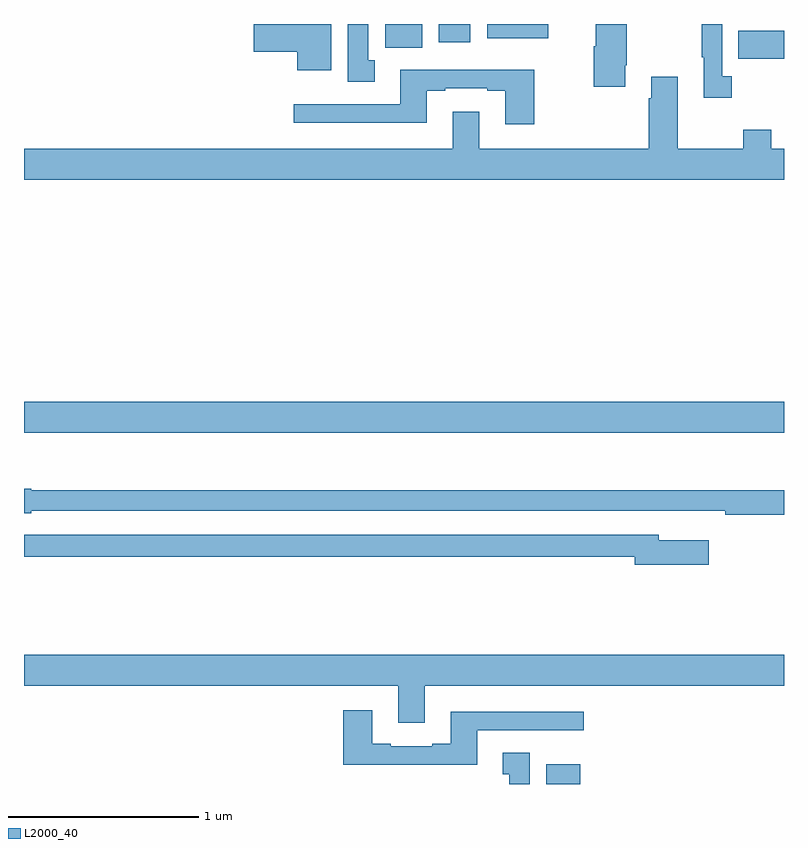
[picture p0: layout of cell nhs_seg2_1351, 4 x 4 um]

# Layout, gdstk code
import gdstk
lib = gdstk.Library(unit=1e-6, precision=1e-09)
def R(c, l, rs):  # rectangles x0, y0, x1, y1
    for r in rs: c.add(gdstk.rectangle(r[:2], r[2:], *l))
def P(c, l, *ps):  # polygons
    for p in ps: c.add(gdstk.Polygon(p, *l))
L2000_40 = (2000, 40)

nhs_seg2_1351 = lib.new_cell('nhs_seg2_1351')
R(nhs_seg2_1351, L2000_40, [(183.749,633.8,183.928,633.904), (181,635.648,185,635.812), (184.759,637.618,185,637.765), (182.9,637.676,183.097,637.8), (183.182,637.704,183.349,637.8), (183.437,637.724,183.76,637.8)])
P(nhs_seg2_1351, L2000_40, [(184.165,637.582),(184.173,637.582),(184.173,637.8),(184.01,637.8),(184.01,637.682),(183.998,637.682),(183.998,637.47),(184.165,637.47)],
  [(182.845,637.61),(182.812,637.61),(182.812,637.8),(182.705,637.8),(182.705,637.497),(182.845,637.497)],
  [(184.726,637.526),(184.674,637.526),(184.674,637.8),(184.566,637.8),(184.566,637.625),(184.577,637.625),(184.577,637.413),(184.726,637.413)],
  [(182.617,637.8),(182.208,637.8),(182.208,637.655),(182.438,637.655),(182.438,637.556),(182.617,637.556)],
  [(183.686,637.558),(182.981,637.558),(182.981,637.377),(182.421,637.377),(182.421,637.28),(183.121,637.28),(183.121,637.449),(183.217,637.449),(183.217,637.461),(183.437,637.461),(183.437,637.449),(183.533,637.449),(183.533,637.272),(183.686,637.272)],
  [(185,637.144),(184.933,637.144),(184.933,637.243),(184.786,637.243),(184.786,637.144),(184.441,637.144),(184.441,637.522),(184.301,637.522),(184.301,637.409),(184.289,637.409),(184.289,637.144),(183.397,637.144),(183.397,637.339),(183.257,637.339),(183.257,637.144),(181,637.144),(181,636.98),(185,636.98)],
  [(185,635.347),(181.038,635.347),(181.038,635.355),(181,635.355),(181,635.225),(181.038,635.225),(181.038,635.238),(184.438,635.238),(184.438,635.237),(184.69,635.237),(184.69,635.218),(185,635.218)],
  [(184.603,635.083),(184.342,635.083),(184.342,635.112),(181,635.112),(181,634.996),(184.214,634.996),(184.214,634.954),(184.603,634.954)],
  [(183.109,634.316),(185,634.316),(185,634.48),(181,634.48),(181,634.316),(182.969,634.316),(182.969,634.122),(183.109,634.122)],
  [(183.385,634.083),(183.946,634.083),(183.946,634.18),(183.245,634.18),(183.245,634.012),(183.149,634.012),(183.149,633.999),(182.929,633.999),(182.929,634.012),(182.833,634.012),(182.833,634.189),(182.681,634.189),(182.681,633.902),(183.385,633.902)],
  [(183.661,633.964),(183.521,633.964),(183.521,633.851),(183.554,633.851),(183.554,633.8),(183.661,633.8)])

lib.write_gds('nhs_seg2_1351.gds')
